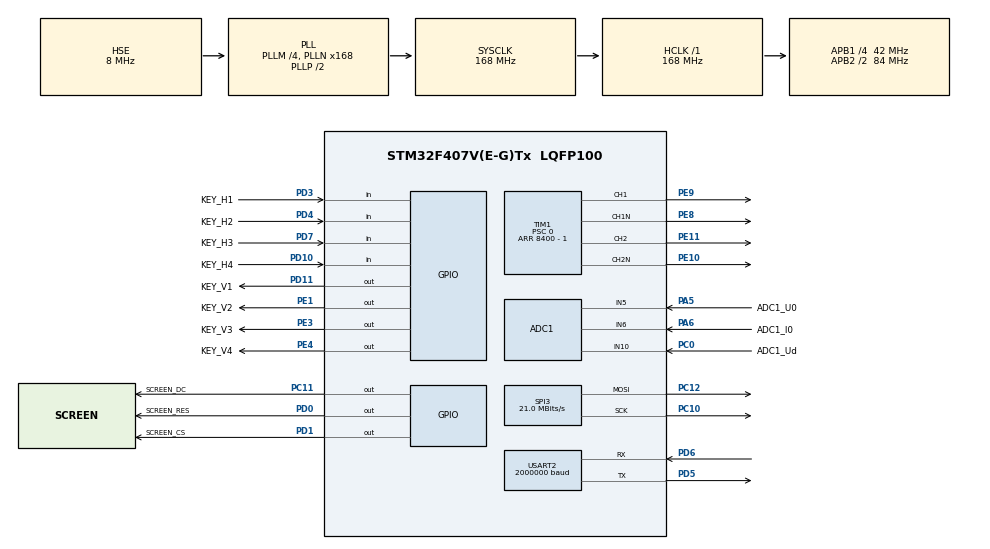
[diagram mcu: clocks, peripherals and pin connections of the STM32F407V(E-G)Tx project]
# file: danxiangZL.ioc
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ADC1.Channel-0\#ChannelRegularConversion=ADC_CHANNEL_5
ADC1.Channel-1\#ChannelRegularConversion=ADC_CHANNEL_6
ADC1.Channel-2\#ChannelRegularConversion=ADC_CHANNEL_10
ADC1.ContinuousConvMode=ENABLE
ADC1.DMAContinuousRequests=ENABLE
ADC1.NbrOfConversion=3
ADC1.NbrOfConversionFlag=1
ADC1.Rank-0\#ChannelRegularConversion=1
ADC1.Rank-1\#ChannelRegularConversion=2
ADC1.Rank-2\#ChannelRegularConversion=3
ADC1.SamplingTime-0\#ChannelRegularConversion=ADC_SAMPLETIME_84CYCLES
ADC1.SamplingTime-1\#ChannelRegularConversion=ADC_SAMPLETIME_84CYCLES
ADC1.SamplingTime-2\#ChannelRegularConversion=ADC_SAMPLETIME_84CYCLES
ADC1.ScanConvMode=ENABLE
ADC1.master=1
Dma.ADC1.0.Direction=DMA_PERIPH_TO_MEMORY
Dma.ADC1.0.FIFOMode=DMA_FIFOMODE_DISABLE
Dma.ADC1.0.Instance=DMA2_Stream0
Dma.ADC1.0.MemDataAlignment=DMA_MDATAALIGN_WORD
Dma.ADC1.0.MemInc=DMA_MINC_ENABLE
Dma.ADC1.0.Mode=DMA_CIRCULAR
Dma.ADC1.0.PeriphDataAlignment=DMA_PDATAALIGN_WORD
Dma.ADC1.0.PeriphInc=DMA_PINC_DISABLE
Dma.ADC1.0.Priority=DMA_PRIORITY_LOW
Dma.Request0=ADC1
Mcu.Family=STM32F4
Mcu.Name=STM32F407V(E-G)Tx
Mcu.Package=LQFP100
NVIC.DMA2_Stream0_IRQn=true\:0\:0\:false\:false\:true\:false\:true\:true
NVIC.PriorityGroup=NVIC_PRIORITYGROUP_4
NVIC.TIM2_IRQn=true\:0\:0\:false\:false\:true\:true\:true\:true
NVIC.TIM3_IRQn=true\:1\:0\:true\:false\:true\:true\:true\:true
PA13.Mode=Serial_Wire
PA13.Signal=SYS_JTMS-SWDIO
PA14.Mode=Serial_Wire
PA14.Signal=SYS_JTCK-SWCLK
PA5.GPIO_Label=ADC1_U0
PA5.Signal=ADCx_IN5
PA6.GPIO_Label=ADC1_I0
PA6.Signal=ADCx_IN6
PC0.GPIO_Label=ADC1_Ud
PC0.Signal=ADCx_IN10
PC10.Mode=TX_Only_Simplex_Unidirect_Master
PC10.Signal=SPI3_SCK
PC11.GPIO_Label=SCREEN_DC
PC11.GPIO_ModeDefaultOutputPP=GPIO_MODE_OUTPUT_PP
PC11.GPIO_PuPd=GPIO_NOPULL
PC11.GPIO_Speed=GPIO_SPEED_FREQ_HIGH
PC11.PinState=GPIO_PIN_SET
PC11.Signal=GPIO_Output
PC12.Mode=TX_Only_Simplex_Unidirect_Master
PC12.Signal=SPI3_MOSI
PD0.GPIO_Label=SCREEN_RES
PD0.GPIO_ModeDefaultOutputPP=GPIO_MODE_OUTPUT_PP
PD0.GPIO_PuPd=GPIO_NOPULL
PD0.GPIO_Speed=GPIO_SPEED_FREQ_HIGH
PD0.PinState=GPIO_PIN_SET
PD0.Signal=GPIO_Output
PD1.GPIO_Label=SCREEN_CS
PD1.GPIO_ModeDefaultOutputPP=GPIO_MODE_OUTPUT_PP
PD1.GPIO_PuPd=GPIO_NOPULL
PD1.GPIO_Speed=GPIO_SPEED_FREQ_HIGH
PD1.PinState=GPIO_PIN_SET
PD1.Signal=GPIO_Output
PD10.GPIO_Label=KEY_H4
PD10.GPIO_Mode=GPIO_MODE_INPUT
PD10.GPIO_PuPd=GPIO_PULLUP
PD10.Signal=GPIO_Input
PD11.GPIO_Label=KEY_V1
PD11.GPIO_ModeDefaultOutputPP=GPIO_MODE_OUTPUT_PP
PD11.GPIO_PuPd=GPIO_PULLUP
PD11.GPIO_Speed=GPIO_SPEED_FREQ_VERY_HIGH
PD11.PinState=GPIO_PIN_RESET
PD11.Signal=GPIO_Output
PD3.GPIO_Label=KEY_H1
PD3.GPIO_Mode=GPIO_MODE_INPUT
PD3.GPIO_PuPd=GPIO_PULLUP
PD3.Signal=GPIO_Input
PD4.GPIO_Label=KEY_H2
PD4.GPIO_Mode=GPIO_MODE_INPUT
PD4.GPIO_PuPd=GPIO_PULLUP
PD4.Signal=GPIO_Input
PD5.Mode=Asynchronous
PD5.Signal=USART2_TX
PD6.Mode=Asynchronous
PD6.Signal=USART2_RX
PD7.GPIO_Label=KEY_H3
PD7.GPIO_Mode=GPIO_MODE_INPUT
PD7.GPIO_PuPd=GPIO_PULLUP
PD7.Signal=GPIO_Input
PE1.GPIO_Label=KEY_V2
PE1.GPIO_ModeDefaultOutputPP=GPIO_MODE_OUTPUT_PP
PE1.GPIO_PuPd=GPIO_PULLUP
PE1.GPIO_Speed=GPIO_SPEED_FREQ_VERY_HIGH
PE1.PinState=GPIO_PIN_RESET
PE1.Signal=GPIO_Output
PE10.Mode=PWM Generation2 CH2 CH2N
PE10.Signal=TIM1_CH2N
PE11.Signal=S_TIM1_CH2
PE3.GPIO_Label=KEY_V3
PE3.GPIO_ModeDefaultOutputPP=GPIO_MODE_OUTPUT_PP
PE3.GPIO_PuPd=GPIO_PULLUP
PE3.GPIO_Speed=GPIO_SPEED_FREQ_VERY_HIGH
PE3.PinState=GPIO_PIN_RESET
PE3.Signal=GPIO_Output
PE4.GPIO_Label=KEY_V4
PE4.GPIO_ModeDefaultOutputPP=GPIO_MODE_OUTPUT_PP
PE4.GPIO_PuPd=GPIO_PULLUP
PE4.GPIO_Speed=GPIO_SPEED_FREQ_VERY_HIGH
PE4.PinState=GPIO_PIN_RESET
PE4.Signal=GPIO_Output
PE8.Mode=PWM Generation1 CH1 CH1N
PE8.Signal=TIM1_CH1N
PE9.Signal=S_TIM1_CH1
PH0-OSC_IN.Mode=HSE-External-Oscillator
PH0-OSC_IN.Signal=RCC_OSC_IN
PH1-OSC_OUT.Mode=HSE-External-Oscillator
PH1-OSC_OUT.Signal=RCC_OSC_OUT
ProjectManager.HeapSize=0x200
ProjectManager.StackSize=0x400
ProjectManager.TargetToolchain=CMake
RCC.48MHZClocksFreq_Value=84000000
RCC.AHBFreq_Value=168000000
RCC.APB1CLKDivider=RCC_HCLK_DIV4
RCC.APB1Freq_Value=42000000
RCC.APB1TimFreq_Value=84000000
RCC.APB2CLKDivider=RCC_HCLK_DIV2
RCC.APB2Freq_Value=84000000
RCC.APB2TimFreq_Value=168000000
RCC.CortexFreq_Value=168000000
RCC.HCLKFreq_Value=168000000
RCC.HSE_VALUE=8000000
RCC.HSI_VALUE=16000000
RCC.LSE_VALUE=32768
RCC.PLLM=4
RCC.PLLN=168
RCC.PLLSourceVirtual=RCC_PLLSOURCE_HSE
RCC.SYSCLKFreq_VALUE=168000000
RCC.SYSCLKSource=RCC_SYSCLKSOURCE_PLLCLK
RCC.VCOOutputFreq_Value=336000000
SH.ADCx_IN10.0=ADC1_IN10,IN10
SH.ADCx_IN5.0=ADC1_IN5,IN5
SH.ADCx_IN6.0=ADC1_IN6,IN6
SH.S_TIM1_CH1.0=TIM1_CH1,PWM Generation1 CH1 CH1N
SH.S_TIM1_CH2.0=TIM1_CH2,PWM Generation2 CH2 CH2N
SPI3.CalculateBaudRate=21.0 MBits/s
SPI3.Direction=SPI_DIRECTION_2LINES
SPI3.Mode=SPI_MODE_MASTER
SPI3.VirtualType=VM_MASTER
TIM1.Channel-PWM\ Generation1\ CH1\ CH1N=TIM_CHANNEL_1
TIM1.Channel-PWM\ Generation2\ CH2\ CH2N=TIM_CHANNEL_2
TIM1.DeadTime=15
TIM1.Period=8400 - 1
TIM1.Prescaler=0
TIM1.Pulse-PWM\ Generation1\ CH1\ CH1N=4200
TIM1.Pulse-PWM\ Generation2\ CH2\ CH2N=4200
TIM2.Period=4200 - 1
USART2.BaudRate=2000000
USART2.VirtualMode=VM_ASYNC
VP_TIM1_VS_ClockSourceINT.Mode=Internal
VP_TIM2_VS_ClockSourceINT.Mode=Internal
VP_TIM3_VS_ClockSourceINT.Mode=Internal
board=custom

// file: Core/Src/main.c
/* USER CODE BEGIN Header */
/**
  ******************************************************************************
  * @file           : main.c
  * @brief          : Main program body
  ******************************************************************************
  * @attention
  *
  * Copyright (c) 2026 STMicroelectronics.
  * All rights reserved.
  *
  * This software is licensed under terms that can be found in the LICENSE file
  * in the root directory of this software component.
  * If no LICENSE file comes with this software, it is provided AS-IS.
  *
  ******************************************************************************
  */
/* USER CODE END Header */
#include "main.h"
#include "adc.h"
#include "dma.h"
#include "spi.h"
#include "tim.h"
#include "usart.h"
#include "gpio.h"

/* USER CODE BEGIN Includes */
#include "math.h"
/* USER CODE END Includes */

/* USER CODE BEGIN PTD */
typedef struct Frame {
    float fdata[6];
    unsigned char tail[4];
} Frame_t;

typedef struct SOGI{
    float ualfa_0;
    float SOGI_Ualfa;
    float SOGI_Ubeta;

    float integral_2;
    float integral_3;

    float Ugird_W0;
    float samp_t;
} SOGI_t;

typedef struct {
    float kp;
    float ki;
    float kd;
    float ek;
    float ek_1;
    float ek_2;
    float uk;
    float uk_1;
} PID_t;

typedef struct {
    float wt;
    float w0;
    PID_t pid;
    SOGI_t sogi;
} PLL_t;

typedef struct
{
    float kp;
    float ki;
    float kd;

    float ek;
    float ek1;
    float ek2;
    float location_sum;
    float out;
}PID_LocTypeDef;

typedef struct{
    float kp ;
    float kr ;
    float wi ;
    float reference ;
    float ts ;
    float L_vir;
    float output_of_backward_integrator ;
    float output_of_feedback ;
    float output_of_forward_integrator ;
    float last_input_of_forward_integrator ;
    float error;
    float input_of_forward_integrator;
    float output ;
}PR_t;

typedef struct {
	  float output;
    float u_prev1, u_prev2;
    float y_prev1, y_prev2;
    float b0, b1, b2, a1, a2;
    float kp,kr,T,omega_c,omega_0;
    float out_limit;
} PR;
/* USER CODE END PTD */

/* USER CODE BEGIN PD */
#define Fz        50.0f
#define PAID      3.14157f
#define T_sample  0.00005f
#define L_val     0.002f
/* USER CODE END PD */

/* USER CODE BEGIN PV */
uint32_t dma_adc_buffer[3];
volatile float U0, I0, Ud;

float ud, uq, id, iq, detad, detaq, cd, cq, ca, cb, I0_AIM, I0_REF, Ud_AIM;

PLL_t U0_PLL;

SOGI_t I0_SOGI;
PR I0_PR;

PID_LocTypeDef Ud_PI;
PID_LocTypeDef Id_PI;
PID_LocTypeDef Iq_PI;

float SinVal, CosVal;

float m, n;
uint16_t count;
uint32_t Keynum;

/* USER CODE END PV */

void SystemClock_Config(void);
/* USER CODE BEGIN PFP */
void Float_Limit(float* num, float min, float max);
float LowPassFilter(float input);
void arm_park_f32 (float alpha, float beta, float* id, float* iq, float sinVal, float cosVal);
void arm_inv_park_f32 (float id, float iq, float* alpha, float* beta, float sinVal, float cosVal);

void UART_SendFrame(UART_HandleTypeDef *huart, float ch1,float ch2,float ch3, float ch4,float ch5,float ch6);

void PLL_init(PLL_t *pll);
void Sogi_init(SOGI_t *sogi);
void PLL_update(PLL_t *pll, float ualpha_input, float* sinVal, float* cosVal);
void Sogi_fun(SOGI_t *sogi, float ualpha_input);
void dq_pll(PLL_t *pll);
float zl_pid_increase(float error, PID_t *pid);

void PID_Init(PID_LocTypeDef *PID,float kp,float ki,float kd);
float PID_increment(float setvalue, float actualvalue, float PID_LIMIT_MIN, float PID_LIMIT_MAX, PID_LocTypeDef *PID);

void PR_Init(PR_t *s, float kp_set, float kr_set, float wi_set, float ts);
void PR_init(PR* ctrl, float T, float Kp, float Kr, float omega_c, float omega_0, float out_limit);
void PR_calc(PR_t *s, float reference, float feedback, float wg);
void PR_StateUpdate(PR_t *s, float reference, float feedback, float omega0);
void PR_Update(PR* ctrl, float input, float gain);

void get_num(void);
uint8_t get_keyboard_value(void);

/* USER CODE END PFP */

int main(void)
{

  /* MCU Configuration--------------------------------------------------------*/

  /* Reset of all peripherals, Initializes the Flash interface and the Systick. */
  HAL_Init();

  /* USER CODE BEGIN Init */
  PLL_init(&U0_PLL);
  // PID_Init(&Ud_PI,0.004,0.0015,0);

  Sogi_init(&I0_SOGI);

  // PID_Init(&Id_PI,0.5,0.0001,0);
  // PID_Init(&Iq_PI,0.5,0.0001,0);

  I0_AIM = 1.0f;
  PR_init(&I0_PR, T_sample, 15.0f, 20.0f, 2.5f, 2.0f * PAID * Fz, 60.0f);
  /* USER CODE END Init */

  /* Configure the system clock */
  SystemClock_Config();

  /* Initialize all configured peripherals */
  MX_GPIO_Init();
  MX_DMA_Init();
  MX_SPI3_Init();
  MX_TIM1_Init();
  MX_ADC1_Init();
  MX_TIM2_Init();
  MX_USART2_UART_Init();
  MX_TIM3_Init();
  /* USER CODE BEGIN 2 */

  HAL_ADC_Start_DMA(&hadc1,dma_adc_buffer,3);
  __HAL_DMA_DISABLE_IT(hadc1.DMA_Handle, DMA_IT_TC);

  __HAL_TIM_SET_COMPARE(&htim1, TIM_CHANNEL_1, 0);
  __HAL_TIM_SET_COMPARE(&htim1, TIM_CHANNEL_2, 0);
  HAL_TIM_PWM_Start(&htim1,TIM_CHANNEL_1);
  HAL_TIMEx_PWMN_Start(&htim1, TIM_CHANNEL_1);
  HAL_TIM_PWM_Start(&htim1,TIM_CHANNEL_2);
  HAL_TIMEx_PWMN_Start(&htim1, TIM_CHANNEL_2);

  HAL_TIM_Base_Start_IT(&htim2);
  HAL_TIM_Base_Start_IT(&htim3);
  /* USER CODE END 2 */

  /* Infinite loop */
  while (1)
  {

  }
}

void SystemClock_Config(void)
{
  RCC_OscInitTypeDef RCC_OscInitStruct = {0};
  RCC_ClkInitTypeDef RCC_ClkInitStruct = {0};

  /** Configure the main internal regulator output voltage
  */
  __HAL_RCC_PWR_CLK_ENABLE();
  __HAL_PWR_VOLTAGESCALING_CONFIG(PWR_REGULATOR_VOLTAGE_SCALE1);

  /** Initializes the RCC Oscillators according to the specified parameters
  * in the RCC_OscInitTypeDef structure.
  */
  RCC_OscInitStruct.OscillatorType = RCC_OSCILLATORTYPE_HSE;
  RCC_OscInitStruct.HSEState = RCC_HSE_ON;
  RCC_OscInitStruct.PLL.PLLState = RCC_PLL_ON;
  RCC_OscInitStruct.PLL.PLLSource = RCC_PLLSOURCE_HSE;
  RCC_OscInitStruct.PLL.PLLM = 4;
  RCC_OscInitStruct.PLL.PLLN = 168;
  RCC_OscInitStruct.PLL.PLLP = RCC_PLLP_DIV2;
  RCC_OscInitStruct.PLL.PLLQ = 4;
  if (HAL_RCC_OscConfig(&RCC_OscInitStruct) != HAL_OK)
  {
    Error_Handler();
  }

  /** Initializes the CPU, AHB and APB buses clocks
  */
  RCC_ClkInitStruct.ClockType = RCC_CLOCKTYPE_HCLK|RCC_CLOCKTYPE_SYSCLK
                              |RCC_CLOCKTYPE_PCLK1|RCC_CLOCKTYPE_PCLK2;
  RCC_ClkInitStruct.SYSCLKSource = RCC_SYSCLKSOURCE_PLLCLK;
  RCC_ClkInitStruct.AHBCLKDivider = RCC_SYSCLK_DIV1;
  RCC_ClkInitStruct.APB1CLKDivider = RCC_HCLK_DIV4;
  RCC_ClkInitStruct.APB2CLKDivider = RCC_HCLK_DIV2;

  if (HAL_RCC_ClockConfig(&RCC_ClkInitStruct, FLASH_LATENCY_5) != HAL_OK)
  {
    Error_Handler();
  }
}

/* USER CODE BEGIN 4 */
void HAL_TIM_PeriodElapsedCallback(TIM_HandleTypeDef *htim)
{
  if (htim == &htim2)
  {
    // Sogi_fun(&I0_SOGI, I0);

    // count++;
    // if (count >= 200)
    // {
    //   count = 0;
    //   m -= PID_increment(Ud_AIM, Ud, -0.05,0.05, &Ud_PI);
    //   Float_Limit(&m, 0.55f, 0.9f);
    // }

    // arm_park_f32(U0_PLL.sogi.SOGI_Ualfa, U0_PLL.sogi.SOGI_Ubeta, &ud, &uq, SinVal, CosVal);
    // arm_park_f32(I0_SOGI.SOGI_Ualfa, I0_SOGI.SOGI_Ubeta, &id, &iq, SinVal, CosVal);

    // detad -= PID_increment(10, id, -0.02, 0.02, &Id_PI);
    // detaq += PID_increment(0, iq, -0.02, 0.02, &Iq_PI);

    // cd = (ud  -detad + 100 * PAID * L_val * iq) / Ud_AIM;
    // cq = (uq - detaq - 100 * PAID * L_val * id) / Ud_AIM;
    // Float_Limit(&cd, -1, 1);
    // Float_Limit(&cq, -1, 1);

    // arm_inv_park_f32(cd, cq, &ca, &cb, SinVal, CosVal);

    // n = m * ca;

    U0 = -((float)(dma_adc_buffer[0] / 4095.0f) * 3.3f - 1.53033f)  * 35.513475f;
    I0 =  ((float)(dma_adc_buffer[1] / 4096.0f) * 3.3f - 1.51800f)  * 3.491f;
    Ud =  ((float)(dma_adc_buffer[2] / 4096.0f) * 3.3f * 14.13784f) + 0.60556f;

    PLL_update(&U0_PLL, U0, &SinVal, &CosVal);
    Sogi_fun(&I0_SOGI, I0);

    U0 = U0_PLL.sogi.SOGI_Ualfa;
    I0 = I0_SOGI.SOGI_Ualfa;
    Ud = LowPassFilter(Ud);

    I0_REF = 1.414f * I0_AIM * CosVal;
    PR_Update(&I0_PR, I0_REF - I0, 1.0f);

    n = (U0 - I0_PR.output) / 50.0f;
    Float_Limit(&n, -1.0f, 1.0f);

    if (n > 0)
    {
      __HAL_TIM_SET_COMPARE(&htim1, TIM_CHANNEL_1, n * 8400);
		  __HAL_TIM_SET_COMPARE(&htim1, TIM_CHANNEL_2, 0);
    }
    else
    {
      __HAL_TIM_SET_COMPARE(&htim1, TIM_CHANNEL_1, 0);
		  __HAL_TIM_SET_COMPARE(&htim1, TIM_CHANNEL_2, -n * 8400);
    }
  }

  if (htim == &htim3)
  {
    UART_SendFrame(&huart2, U0 / 35.513475f, I0 / 3.491f, U0_PLL.wt, Ud, I0_REF, n);
  }
}

void Float_Limit(float* num, float min, float max)
{
  if (*num > max) *num = max;
  if (*num < min) *num = min;
}

float LowPassFilter(float input)
{
  static float output;

  output += 0.02f * (input - output);
  return output;
}

void arm_park_f32 (float alpha, float beta, float* id, float* iq, float sinVal, float cosVal)
{
  *id =  alpha * cosVal + beta * sinVal;
  *iq = -alpha * sinVal + beta * cosVal;
}

void arm_inv_park_f32 (float id, float iq, float* alpha, float* beta, float sinVal, float cosVal)
{
  *alpha = id * cosVal - iq * sinVal;
  *beta  = id * sinVal + iq * cosVal;
}

void UART_SendFrame(UART_HandleTypeDef *huart, float ch1,float ch2,float ch3, float ch4,float ch5,float ch6)
{
    Frame_t frame;

    frame.fdata[0] = ch1;
    frame.fdata[1] = ch2;
    frame.fdata[2] = ch3;
    frame.fdata[3] = ch4;
    frame.fdata[4] = ch5;
    frame.fdata[5] = ch6;

    // 设置帧尾（VOFA+默认识别的帧尾）
    frame.tail[0] = 0x00;
    frame.tail[1] = 0x00;
    frame.tail[2] = 0x80;
    frame.tail[3] = 0x7F;

    HAL_UART_Transmit(huart, (uint8_t *)&frame, sizeof(Frame_t), HAL_MAX_DELAY);
}

void PLL_init(PLL_t *pll)
{
    pll->wt = 0;
    pll->w0 = 2*Fz*PAID; // 初始频率
    pll->pid.kp = 5;
    pll->pid.ki = 0.02;
    pll->pid.kd = 0;
    pll->pid.uk = 0;
    pll->pid.ek = pll->pid.ek_1 = pll->pid.ek_2 = 0;

    Sogi_init(&pll->sogi);
}

void Sogi_init(SOGI_t *sogi)
{
	sogi->Ugird_W0=2*Fz*PAID;
    sogi->integral_2 = 0;
    sogi->integral_3 = 0;
    sogi->samp_t = T_sample;
}

void PLL_update(PLL_t *pll, float ualpha_input, float* sinVal, float* cosVal)
{
    Sogi_fun(&pll->sogi, ualpha_input);
    dq_pll(pll);
    *sinVal = sinf(pll->wt);
    *cosVal = cosf(pll->wt);
}

void Sogi_fun(SOGI_t *sogi, float ualpha_input)
{
    sogi->ualfa_0 = ualpha_input;

    float x_a = (sogi->ualfa_0 - sogi->integral_2) * 1.0f;
    sogi->integral_2 += sogi->Ugird_W0 * (x_a - sogi->integral_3) * sogi->samp_t;
    sogi->SOGI_Ualfa = sogi->integral_2;

    sogi->integral_3 += sogi->Ugird_W0 * sogi->integral_2 * sogi->samp_t;
    sogi->SOGI_Ubeta = sogi->integral_3;
}

void dq_pll(PLL_t *pll)
{
    float uq1 = cosf(pll->wt) * pll->sogi.SOGI_Ubeta
             - sinf(pll->wt) * pll->sogi.SOGI_Ualfa;

    float con_increase = zl_pid_increase(0-uq1, &pll->pid);
    pll->w0 = 2*Fz*PAID - con_increase;
    pll->wt += pll->w0 * pll->sogi.samp_t;
    if (pll->wt >= 2 * PAID ) pll->wt -= 2 * PAID ;
}

float zl_pid_increase(float error, PID_t *pid)
{
    pid->ek = error;
    float delta_u = pid->kp * (pid->ek - pid->ek_1)
                  + pid->ki * pid->ek
                  + pid->kd * (pid->ek - 2 * pid->ek_1 + pid->ek_2);
    pid->ek_2 = pid->ek_1;
    pid->ek_1 = pid->ek;
    pid->uk += delta_u;
    return pid->uk;
}

void PID_Init(PID_LocTypeDef *PID,float kp,float ki,float kd)
{
    PID->kp = kp;
    PID->ki = ki;
    PID->kd = kd;
    PID->ek = 0;
    PID->ek1 = 0;
    PID->ek2 = 0;
    PID->location_sum = 0;
    PID->out = 0;
}

float PID_increment(float setvalue, float actualvalue, float PID_LIMIT_MIN, float PID_LIMIT_MAX, PID_LocTypeDef *PID)
{
	PID->ek =setvalue-actualvalue;
  PID->out=PID->kp*(PID->ek-PID->ek1)+PID->ki*PID->ek+PID->kd*(PID->ek-2*PID->ek1+PID->ek2);
  PID->ek2 = PID->ek1;
  PID->ek1 = PID->ek;
	if(PID->out<PID_LIMIT_MIN)	PID->out=PID_LIMIT_MIN;
	if(PID->out>PID_LIMIT_MAX)	PID->out=PID_LIMIT_MAX;

	return PID->out;
}

void PR_Init(PR_t *s, float kp_set, float kr_set, float wi_set, float ts)
{
    s->kp = kp_set ;
    s->kr = kr_set ;
    s->wi = wi_set ;
    s->ts = ts ;
    s->L_vir=0;
    s->output_of_feedback = 0;
    s->output_of_backward_integrator = 0;
    s->output_of_forward_integrator = 0 ;
    s->last_input_of_forward_integrator = 0;
    s->error=0;
    s->input_of_forward_integrator=0;
    s->reference = 0 ;
    s->output= 0 ;
}

void PR_calc(PR_t *s, float reference, float feedback, float wg)
{
    s->reference = reference;

    s->error = reference - feedback ;
    s->input_of_forward_integrator = 2 * s->wi * s->kr * s->error - s->output_of_feedback;
    // Forward integrator :
    s->output_of_forward_integrator += s->ts *  s->input_of_forward_integrator;

    // Backward integrator:
    s->output_of_backward_integrator += s->ts * s->output_of_forward_integrator * wg * wg ;

    s->output_of_feedback = s->output_of_backward_integrator + 2 * s->wi * s->output_of_forward_integrator ;

    s->output=s->output_of_forward_integrator + s->kp* s->error;
}

void PR_init(PR* ctrl, float T, float Kp, float Kr, float omega_c, float omega_0, float out_limit)
{
    float a0 = (4.0f / (T * T)) + (4.0f * omega_c / T) + omega_0 * omega_0;
    float a1 = (-8.0f / (T * T)) + 2.0f * omega_0 * omega_0;
    float a2 = (4.0f / (T * T)) - (4.0f * omega_c / T) + omega_0 * omega_0;

    float b0 = (4.0f * Kp) / (T * T) + (4.0f * omega_c * (Kp + Kr) / T) + Kp * omega_0 * omega_0;
    float b1 = (-8.0f * Kp) / (T * T) + 2.0f * Kp * omega_0 * omega_0;
    float b2 = (4.0f * Kp) / (T * T) - (4.0f * omega_c * (Kp + Kr) / T) + Kp * omega_0 * omega_0;

    ctrl->T=T;
    ctrl->kp=Kp;
    ctrl->kr=Kr;
    ctrl->omega_0=omega_0;
    ctrl->omega_c=omega_c;

    ctrl->b0 = b0 / a0;
    ctrl->b1 = b1 / a0;
    ctrl->b2 = b2 / a0;
    ctrl->a1 = a1 / a0;
    ctrl->a2 = a2 / a0;

    ctrl->u_prev1 = 0.0f;
    ctrl->u_prev2 = 0.0f;
    ctrl->y_prev1 = 0.0f;
    ctrl->y_prev2 = 0.0f;

    ctrl->output=0;
    ctrl->out_limit=out_limit;
}

void PR_StateUpdate(PR_t *s, float reference, float feedback, float omega0)
{
    s->reference = reference;

    s->error = reference - feedback;
    s->input_of_forward_integrator = 2.0f * s->wi * s->kr * s->error - s->output_of_feedback;

    s->output_of_forward_integrator += s->ts * s->input_of_forward_integrator;
    s->output_of_backward_integrator += s->ts * omega0 * omega0 * s->output_of_forward_integrator;
    s->output_of_feedback = s->output_of_backward_integrator + 2.0f * s->wi * s->output_of_forward_integrator;

    s->output = s->output_of_forward_integrator + s->kp * s->error;
}

void PR_Update(PR* ctrl, float input, float gain)
{
    ctrl->output =
        ctrl->b0 * input +
        ctrl->b1 * ctrl->u_prev1 +
        ctrl->b2 * ctrl->u_prev2 -
        ctrl->a1 * ctrl->y_prev1 -
        ctrl->a2 * ctrl->y_prev2;

    ctrl->u_prev2 = ctrl->u_prev1;
    ctrl->u_prev1 = input;
    ctrl->y_prev2 = ctrl->y_prev1;
    ctrl->y_prev1 = ctrl->output;

    ctrl->output *= gain;
    ctrl->output = ctrl->output > ctrl->out_limit ? ctrl->out_limit :
        (ctrl->output < -ctrl->out_limit ? -ctrl->out_limit : ctrl->output);
}

void get_num(void)
{

	if(get_keyboard_value()!=0)
	{
		HAL_Delay(30);
		if(get_keyboard_value()!=0)
		{
			switch(get_keyboard_value())
			{
			case '1':Keynum=1;break;
			case '2':Keynum=2;break;
			case '3':Keynum=3;break;
			case '4':Keynum=4;break;
			case '5':Keynum=5;break;
			case '6':Keynum=6;break;
			case '7':Keynum=7;break;
			case '8':Keynum=8;break;
			case '9':Keynum=9;break;
			case '0':Keynum=0;break;
			case 'A':break;//a
			case 'B':break;//b
			case 'C':break;//c
			case 'D':break;//d
			case '#':break;//#
			case '*':break;//#
			default:break;
			}

		}
	}
}

uint8_t get_keyboard_value(void)
{
    int h_arr[4] = {KEY_H1_Pin, KEY_H2_Pin, KEY_H3_Pin, KEY_H4_Pin};
    int v_arr[4] = {KEY_V1_Pin, KEY_V2_Pin, KEY_V3_Pin, KEY_V4_Pin};
    uint8_t board[16]={'1','4','7','*','2','5','8','0','3','6','9','#','A','B','C','D'};

    int i = 0;
		int j = 0;
    int key_value = 0;
    for (i = 0; i < 4; i++)
    {
    	HAL_GPIO_WritePin((i>0) ? GPIOE:GPIOD,v_arr[i],0);
    	HAL_GPIO_WritePin(((i+1)%4>0) ? GPIOE:GPIOD,v_arr[(i + 1) % 4],1);
    	HAL_GPIO_WritePin(((i+2)%4>0) ? GPIOE:GPIOD,v_arr[(i + 2) % 4],1);
    	HAL_GPIO_WritePin(((i+3)%4>0) ? GPIOE:GPIOD,v_arr[(i + 3) % 4],1);

        HAL_Delay(1);

        for (j = 0; j < 4; j++)
        {
            if (HAL_GPIO_ReadPin(GPIOD, h_arr[j]) == 0)
            {
                key_value = j * 4 + i + 1;
            }
        }

    }
    if(key_value==0)
    	return 0;
    else
    	return board[key_value-1];
}
/* USER CODE END 4 */

void Error_Handler(void)
{
  __disable_irq();
  while (1)
  {
  }
}
